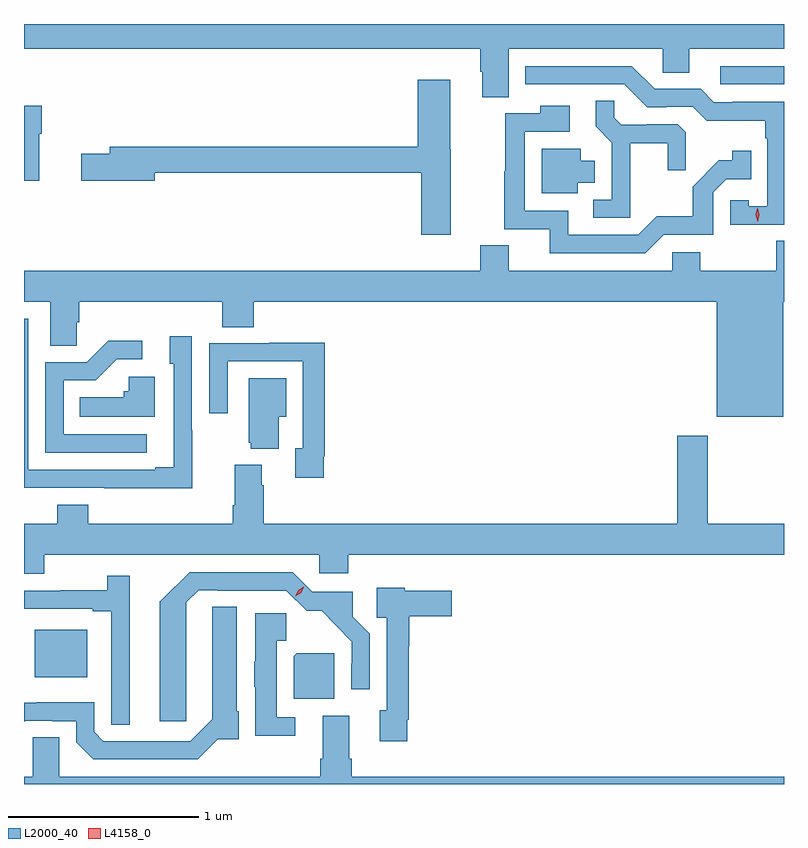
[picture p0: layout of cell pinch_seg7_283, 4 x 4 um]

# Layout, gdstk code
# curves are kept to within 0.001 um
import gdstk
lib = gdstk.Library(unit=1e-6, precision=1e-09)
def R(c, l, rs):  # rectangles x0, y0, x1, y1
    for r in rs: c.add(gdstk.rectangle(r[:2], r[2:], *l))
def P(c, l, *ps):  # polygons
    for p in ps: c.add(gdstk.Polygon(p, *l))
L2000_40 = (2000, 40)
L4158_0 = (4158, 0)

pinch_seg7_283 = lib.new_cell('pinch_seg7_283')
R(pinch_seg7_283, L2000_40, [(568.244,1075.895,568.519,1076.146), (571.851,1079.016,572.187,1079.112)])
P(pinch_seg7_283, L2000_40, [(570.739,1079.204),(571.548,1079.204),(571.548,1079.077),(571.687,1079.077),(571.687,1079.204),(572.187,1079.204),(572.187,1079.334),(568.187,1079.334),(568.187,1079.204),(570.587,1079.204),(570.587,1079.082),(570.599,1079.082),(570.599,1078.948),(570.739,1078.948)],
  [(572.187,1078.926),(571.918,1078.926),(571.918,1078.923),(571.818,1078.923),(571.749,1078.992),(571.506,1078.992),(571.386,1079.112),(570.824,1079.112),(570.824,1079.016),(571.347,1079.016),(571.467,1078.896),(571.568,1078.896),(571.568,1078.899),(571.707,1078.899),(571.78,1078.826),(572.088,1078.826),(572.088,1078.733),(572.1,1078.733),(572.1,1078.375),(572.001,1078.375),(572.001,1078.407),(571.905,1078.407),(571.905,1078.278),(572.187,1078.278)],
  [(570.432,1078.674),(570.43,1078.674),(570.43,1079.041),(570.26,1079.041),(570.26,1078.688),(568.637,1078.688),(568.637,1078.652),(568.488,1078.652),(568.488,1078.51),(568.876,1078.51),(568.876,1078.552),(570.278,1078.552),(570.278,1078.224),(570.432,1078.224)],
  [(571.379,1078.706),(571.576,1078.706),(571.576,1078.563),(571.67,1078.563),(571.67,1078.765),(571.629,1078.806),(571.464,1078.806),(571.464,1078.803),(571.33,1078.803),(571.293,1078.84),(571.293,1078.931),(571.195,1078.931),(571.195,1078.795),(571.281,1078.709),(571.281,1078.41),(571.182,1078.41),(571.182,1078.314),(571.379,1078.314)],
  [(571.554,1078.224),(571.815,1078.224),(571.815,1078.449),(571.884,1078.518),(572.015,1078.518),(572.015,1078.666),(571.914,1078.666),(571.914,1078.616),(571.844,1078.616),(571.707,1078.478),(571.707,1078.323),(571.518,1078.323),(571.419,1078.224),(571.051,1078.224),(571.051,1078.35),(570.822,1078.35),(570.822,1078.767),(571.06,1078.767),(571.06,1078.903),(570.904,1078.903),(570.904,1078.863),(570.721,1078.863),(570.721,1078.559),(570.714,1078.559),(570.714,1078.254),(570.953,1078.254),(570.953,1078.128),(571.458,1078.128)],
  [(568.267,1078.757),(568.28,1078.757),(568.28,1078.903),(568.187,1078.903),(568.187,1078.509),(568.267,1078.509)],
  [(571.102,1078.499),(571.192,1078.499),(571.192,1078.615),(571.117,1078.615),(571.117,1078.678),(570.911,1078.678),(570.911,1078.442),(571.102,1078.442)],
  [(572.182,1077.872),(572.187,1077.872),(572.187,1078.193),(572.146,1078.193),(572.146,1078.036),(571.746,1078.036),(571.746,1078.134),(571.599,1078.134),(571.599,1078.036),(570.739,1078.036),(570.739,1078.169),(570.587,1078.169),(570.587,1078.036),(568.187,1078.036),(568.187,1077.872),(568.325,1077.872),(568.325,1077.64),(568.464,1077.64),(568.464,1077.763),(568.478,1077.763),(568.478,1077.872),(569.231,1077.872),(569.231,1077.739),(569.396,1077.739),(569.396,1077.872),(571.832,1077.872),(571.832,1077.266),(572.182,1077.266)],
  [(569.073,1077.197),(569.07,1077.197),(569.07,1077.691),(568.955,1077.691),(568.955,1077.546),(568.974,1077.546),(568.974,1077.001),(568.877,1077.001),(568.877,1076.988),(568.209,1076.988),(568.209,1077.783),(568.187,1077.783),(568.187,1076.892),(568.609,1076.892),(568.609,1076.891),(569.073,1076.891)],
  [(568.834,1077.174),(568.395,1077.174),(568.395,1077.459),(568.564,1077.459),(568.675,1077.57),(568.81,1077.57),(568.81,1077.668),(568.631,1077.668),(568.518,1077.555),(568.299,1077.555),(568.299,1077.078),(568.834,1077.078)],
  [(569.764,1077.058),(569.771,1077.058),(569.771,1077.656),(569.479,1077.656),(569.479,1077.654),(569.163,1077.654),(569.163,1077.285),(569.259,1077.285),(569.259,1077.558),(569.655,1077.558),(569.655,1077.102),(569.615,1077.102),(569.615,1076.946),(569.764,1076.946)],
  [(568.876,1077.478),(568.737,1077.478),(568.737,1077.402),(568.711,1077.402),(568.711,1077.37),(568.48,1077.37),(568.48,1077.266),(568.876,1077.266)],
  [(569.527,1077.266),(569.566,1077.266),(569.566,1077.469),(569.369,1077.469),(569.369,1077.129),(569.381,1077.129),(569.381,1077.098),(569.527,1077.098)],
  [(568.293,1076.54),(569.742,1076.54),(569.742,1076.442),(569.894,1076.442),(569.894,1076.54),(572.187,1076.54),(572.187,1076.704),(571.785,1076.704),(571.785,1077.166),(571.625,1077.166),(571.625,1076.704),(569.45,1076.704),(569.45,1076.906),(569.437,1076.906),(569.437,1077.013),(569.297,1077.013),(569.297,1076.8),(569.285,1076.8),(569.285,1076.704),(568.526,1076.704),(568.526,1076.803),(568.361,1076.803),(568.361,1076.704),(568.187,1076.704),(568.187,1076.441),(568.293,1076.441)],
  [(569.041,1076.186),(569.042,1076.291),(569.106,1076.355),(569.206,1076.355),(569.206,1076.352),(569.568,1076.352),(569.674,1076.246),(569.753,1076.246),(569.826,1076.173),(569.824,1076.171),(569.913,1076.082),(569.913,1075.967),(569.91,1075.967),(569.91,1075.833),(570.006,1075.833),(570.006,1076.125),(569.917,1076.214),(569.917,1076.346),(569.703,1076.346),(569.601,1076.448),(569.06,1076.448),(568.982,1076.371),(568.981,1076.372),(568.904,1076.295),(568.901,1076.295),(568.901,1075.665),(569.041,1075.665)],
  [(568.744,1076.431),(568.624,1076.431),(568.624,1076.354),(568.381,1076.354),(568.381,1076.352),(568.187,1076.352),(568.187,1076.256),(568.55,1076.256),(568.55,1076.244),(568.647,1076.244),(568.647,1075.645),(568.744,1075.645)],
  [(570.205,1075.672),(570.212,1075.672),(570.212,1076.061),(570.214,1076.061),(570.214,1076.216),(570.439,1076.216),(570.439,1076.35),(570.192,1076.35),(570.192,1076.368),(570.044,1076.368),(570.044,1076.208),(570.096,1076.208),(570.096,1075.721),(570.059,1075.721),(570.059,1075.56),(570.205,1075.56)],
  [(569.206,1075.569),(569.317,1075.569),(569.317,1075.716),(569.308,1075.716),(569.308,1076.267),(569.177,1076.267),(569.177,1075.676),(569.061,1075.56),(568.605,1075.56),(568.557,1075.608),(568.557,1075.763),(568.255,1075.763),(568.255,1075.761),(568.187,1075.761),(568.187,1075.661),(568.194,1075.668),(568.336,1075.668),(568.336,1075.665),(568.461,1075.665),(568.461,1075.554),(568.551,1075.464),(569.101,1075.464)],
  [(569.614,1075.686),(569.518,1075.686),(569.518,1076.088),(569.566,1076.088),(569.566,1076.233),(569.405,1076.233),(569.405,1075.977),(569.399,1075.977),(569.399,1075.845),(569.405,1075.845),(569.405,1075.589),(569.614,1075.589)],
  [(569.821,1076.023),(569.622,1076.023),(569.606,1076.007),(569.606,1075.784),(569.821,1075.784)],
  [(572.187,1075.372),(569.912,1075.372),(569.912,1075.468),(569.899,1075.468),(569.899,1075.693),(569.759,1075.693),(569.759,1075.468),(569.747,1075.468),(569.747,1075.372),(568.372,1075.372),(568.372,1075.58),(568.232,1075.58),(568.232,1075.372),(568.187,1075.372),(568.187,1075.334),(572.187,1075.334)])
P(pinch_seg7_283, L4158_0, [(572.049,1078.293),(572.049,1078.294),(572.038,1078.329),(572.047,1078.365),(572.047,1078.365),(572.048,1078.365),(572.058,1078.329),(572.049,1078.294)],
  [(569.615,1076.321),(569.615,1076.321),(569.63,1076.354),(569.66,1076.373),(569.66,1076.373),(569.66,1076.373),(569.645,1076.34),(569.615,1076.321)])

lib.write_gds('pinch_seg7_283.gds')
